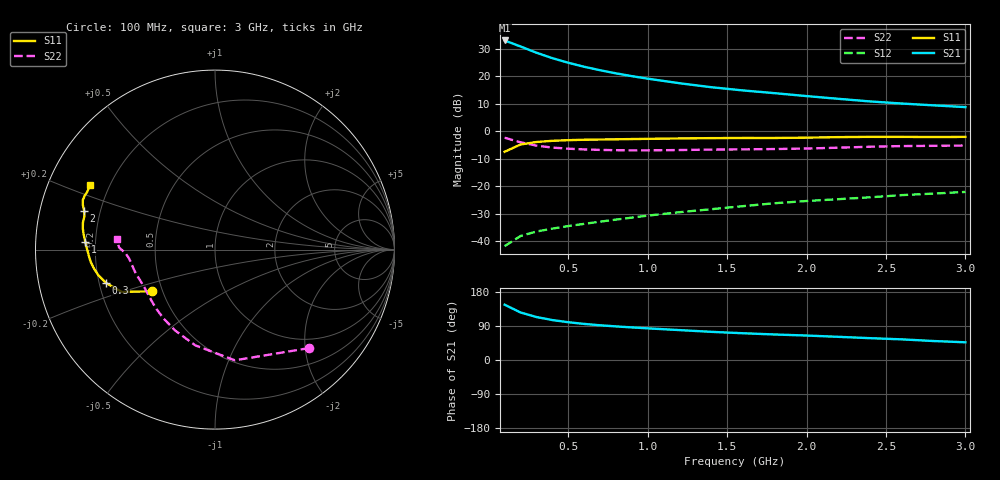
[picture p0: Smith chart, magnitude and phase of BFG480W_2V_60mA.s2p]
! Filename: 260BFG480.001
! Title: BFG480W
! Bias: Vce=2V; Ic=60mA
! Company: Philips Semiconductors NL
! User: Quality&Reliability T&D
! Measure time: 10 Nov 1999 / 11:54:13
#  MHz  S  MA  R 50
! Freq  S11  S21  S12  S22  :
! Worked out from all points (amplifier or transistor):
!   20 points, 100 MHz to 3 GHz, reference 50 ohm
!   highest |S21| = 33.0 dB at 100 MHz (marker M1)
!   |S21| within 3 dB of that: start of sweep to 235.7 MHz
!   unconditionally stable (mu >= 1): 834.2 MHz to end of sweep
!   at 400 MHz: K = 0.72, MSG = 31.0 dB, |S12| = -35.5 dB
!   at 1.2 GHz: K = 1.07, MAG = 21.8 dB, |S12| = -29.5 dB
!   at 3 GHz: K = 1.10, MAG = 13.5 dB, |S12| = -22.1 dB
!   S11 on the Smith chart (normalised r, x): 100 MHz: 0.44, -0.25; 300 MHz: 0.23, -0.14; 1 GHz: 0.16, +0.03; 2 GHz: 0.14, +0.14; 3 GHz: 0.13, +0.24
100  0.4211 -146.5  44.76 145.9  0.008048 67.3  0.7594 -46.2
200  0.5706 -155.6  34.78 125.5  0.01233 56.3  0.6267 -79.8
300  0.6344 -162.9  26.8 113.4  0.01486 53.5  0.5449 -101.6
400  0.6664 -167.8  21.33 105.5  0.01681 54.1  0.5024 -116.3
500  0.6848 -171.6  17.6 99.7  0.01867 55.7  0.4789 -126.8
600  0.6969 -174.6  14.87 95.2  0.02049 57.4  0.4648 -134.5
700  0.7036 -177.1  12.87 91.7  0.02248 59.5  0.4554 -140.4
800  0.71 -179.4  11.29 88.6  0.02449 61.5  0.4495 -145.3
900  0.7176 178.5  10.04 86.0  0.02663 63.4  0.4467 -149.5
1000  0.7236 176.6  9.031 83.6  0.02896 64.7  0.4466 -153.1
1200  0.7367 173.4  7.459 78.9  0.03341 66.8  0.4528 -159.0
1400  0.746 170.9  6.31 74.3  0.03787 68.2  0.4613 -163.4
1600  0.7513 168.4  5.51 70.6  0.04307 69.4  0.4661 -166.9
1800  0.7509 165.7  4.913 67.3  0.0487 70.2  0.472 -170.5
2000  0.7604 163.4  4.349 64.6  0.05343 71.2  0.4823 -174.4
2200  0.7781 161.2  3.877 61.2  0.05771 71.3  0.4999 -177.8
2400  0.7866 159.4  3.474 57.6  0.06246 71.0  0.5203 -179.9
2600  0.7857 157.6  3.181 54.5  0.06842 70.5  0.5346 178.7
2800  0.781 155.3  2.947 50.1  0.07298 69.2  0.5403 176.8
3000  0.7853 152.6  2.738 46.7  0.07824 68.5  0.5467 173.9
